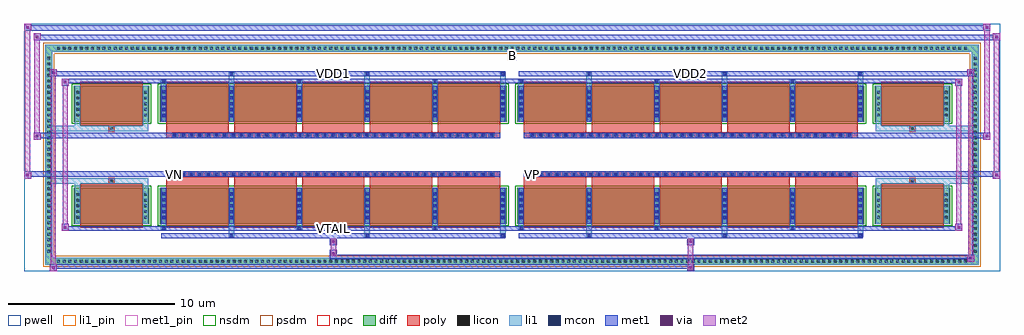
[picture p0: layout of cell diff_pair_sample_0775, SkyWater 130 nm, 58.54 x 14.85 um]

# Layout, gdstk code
import gdstk
lib = gdstk.Library(unit=1e-6, precision=5e-09)
def R(c, l, rs):  # rectangles x0, y0, x1, y1
    for r in rs: c.add(gdstk.rectangle(r[:2], r[2:], *l))
def A(c, l, x, y, w, h, nx, ny, dx, dy):  # array of equal rectangles
    R(c, l, [(x+i*dx, y+j*dy, x+i*dx+w, y+j*dy+h) for i in range(nx) for j in range(ny)])
def P(c, l, *ps):  # polygons
    for p in ps: c.add(gdstk.Polygon(p, *l))
pwell = (64, 44)
diff = (65, 20)
poly = (66, 20)
licon = (66, 44)
li1_pin = (67, 16)
li1 = (67, 20)
mcon = (67, 44)
met1_pin = (68, 16)
met1 = (68, 20)
via = (68, 44)
met2 = (69, 20)
nsdm = (93, 44)
psdm = (94, 20)
npc = (95, 20)

diff_pair_sample_0775 = lib.new_cell('diff_pair_sample_0775')
R(diff_pair_sample_0775, pwell, [(-29.27,-6.99,29.27,7.86), (-26.59,-5.18,-0.01,-0.8), (0.01,-5.18,26.59,-0.8), (-26.59,0.8,-0.01,5.18), (0.01,0.8,26.59,5.18)])
A(diff_pair_sample_0775, diff, -27.405, -6.59, 0.41, 0.41, 161, 2, 0.34, 12.77)
A(diff_pair_sample_0775, diff, -28, -5.985, 0.41, 0.41, 1, 35, 0, 0.34)
A(diff_pair_sample_0775, diff, 27.59, -5.985, 0.41, 0.41, 1, 35, 0, 0.34)
R(diff_pair_sample_0775, diff, [(-27.405,-6.59,27.405,-6.18), (-28,-5.985,-27.59,5.985), (27.59,-5.985,28,5.985), (-26.28,-4.135,-21.76,-1.985), (-21.12,-4.135,-0.32,-1.985), (0.32,-4.135,21.12,-1.985), (21.76,-4.135,26.28,-1.985), (-26.28,1.985,-21.76,4.135), (-21.12,1.985,-0.32,4.135), (0.32,1.985,21.12,4.135), (21.76,1.985,26.28,4.135), (-27.405,6.18,27.405,6.59)])
P(diff_pair_sample_0775, diff, [(28,6.59),(-28,6.59),(-28,-6.18),(-27.59,-6.18),(-27.59,6.18),(27.59,6.18),(27.59,-6.18),(-27.59,-6.18),(-28,-6.18),(-28,-6.59),(28,-6.59)])
A(diff_pair_sample_0775, poly, -20.73, -4.385, 3.74, 2.65, 5, 2, 4.07, 6.12)
A(diff_pair_sample_0775, poly, 0.71, -4.385, 3.74, 2.65, 5, 2, 4.07, 6.12)
A(diff_pair_sample_0775, poly, -20.73, -1.735, 3.74, 0.405, 5, 2, 4.07, 3.065)
A(diff_pair_sample_0775, poly, 0.71, -1.735, 3.74, 0.405, 5, 2, 4.07, 3.065)
A(diff_pair_sample_0775, poly, -20.385, -1.33, 0.33, 0.33, 39, 2, 0.5, 2.33)
A(diff_pair_sample_0775, poly, 1.055, -1.33, 0.33, 0.33, 39, 2, 0.5, 2.33)
R(diff_pair_sample_0775, poly, [(-25.89,-4.385,-22.15,-1.735), (22.15,-4.385,25.89,-1.735), (-24.185,-1.735,-23.855,-1.405), (-24.185,-1.735,-23.855,-1.405), (23.855,-1.735,24.185,-1.405), (23.855,-1.735,24.185,-1.405), (-20.73,-1.33,-0.71,-1), (0.71,-1.33,20.73,-1), (-20.73,1,-0.71,1.33), (0.71,1,20.73,1.33), (-24.185,1.405,-23.855,1.735), (-24.185,1.405,-23.855,1.735), (23.855,1.405,24.185,1.735), (23.855,1.405,24.185,1.735), (-25.89,1.735,-22.15,4.385), (22.15,1.735,25.89,4.385)])
A(diff_pair_sample_0775, licon, -27.285, -6.47, 0.17, 0.17, 161, 2, 0.34, 12.77)
A(diff_pair_sample_0775, licon, -27.88, -5.865, 0.17, 0.17, 1, 35, 0, 0.34)
A(diff_pair_sample_0775, licon, 27.71, -5.865, 0.17, 0.17, 1, 35, 0, 0.34)
A(diff_pair_sample_0775, licon, -26.14, -3.825, 0.17, 0.17, 1, 5, 0, 0.34)
A(diff_pair_sample_0775, licon, -22.07, -3.825, 0.17, 0.17, 1, 5, 0, 0.34)
A(diff_pair_sample_0775, licon, -20.98, -3.825, 0.17, 0.17, 6, 5, 4.07, 0.34)
A(diff_pair_sample_0775, licon, 0.46, -3.825, 0.17, 0.17, 6, 5, 4.07, 0.34)
A(diff_pair_sample_0775, licon, 21.9, -3.825, 0.17, 0.17, 1, 5, 0, 0.34)
A(diff_pair_sample_0775, licon, 25.97, -3.825, 0.17, 0.17, 1, 5, 0, 0.34)
A(diff_pair_sample_0775, licon, -20.305, -1.25, 0.17, 0.17, 39, 2, 0.5, 2.33)
A(diff_pair_sample_0775, licon, 1.135, -1.25, 0.17, 0.17, 39, 2, 0.5, 2.33)
A(diff_pair_sample_0775, licon, -26.14, 2.295, 0.17, 0.17, 1, 5, 0, 0.34)
A(diff_pair_sample_0775, licon, -22.07, 2.295, 0.17, 0.17, 1, 5, 0, 0.34)
A(diff_pair_sample_0775, licon, -20.98, 2.295, 0.17, 0.17, 6, 5, 4.07, 0.34)
A(diff_pair_sample_0775, licon, 0.46, 2.295, 0.17, 0.17, 6, 5, 4.07, 0.34)
A(diff_pair_sample_0775, licon, 21.9, 2.295, 0.17, 0.17, 1, 5, 0, 0.34)
A(diff_pair_sample_0775, licon, 25.97, 2.295, 0.17, 0.17, 1, 5, 0, 0.34)
R(diff_pair_sample_0775, licon, [(-24.105,-1.655,-23.935,-1.485), (23.935,-1.655,24.105,-1.485), (-24.105,1.485,-23.935,1.655), (23.935,1.485,24.105,1.655)])
R(diff_pair_sample_0775, li1_pin, [(-0.25,5.68,0.25,6.18)])
A(diff_pair_sample_0775, li1, -27.365, -6.55, 0.33, 0.33, 161, 2, 0.34, 12.77)
A(diff_pair_sample_0775, li1, -27.96, -5.945, 0.33, 0.33, 1, 35, 0, 0.34)
A(diff_pair_sample_0775, li1, 27.63, -5.945, 0.33, 0.33, 1, 35, 0, 0.34)
A(diff_pair_sample_0775, li1, -16.99, -4.94, 0.33, 0.805, 3, 2, 8.14, 9.075)
A(diff_pair_sample_0775, li1, -16.91, -4.94, 0.17, 0.17, 3, 2, 8.14, 9.71)
A(diff_pair_sample_0775, li1, 4.45, -4.94, 0.33, 0.805, 3, 2, 8.14, 9.075)
A(diff_pair_sample_0775, li1, 4.53, -4.94, 0.17, 0.17, 3, 2, 8.14, 9.71)
A(diff_pair_sample_0775, li1, -21.06, -4.51, 0.33, 0.375, 3, 2, 8.14, 8.645)
A(diff_pair_sample_0775, li1, -20.98, -4.51, 0.17, 0.17, 3, 2, 8.14, 8.85)
A(diff_pair_sample_0775, li1, 0.38, -4.51, 0.33, 0.375, 3, 2, 8.14, 8.645)
A(diff_pair_sample_0775, li1, 0.46, -4.51, 0.17, 0.17, 3, 2, 8.14, 8.85)
A(diff_pair_sample_0775, li1, -21.06, -4.135, 0.33, 2.15, 6, 2, 4.07, 6.12)
A(diff_pair_sample_0775, li1, 0.38, -4.135, 0.33, 2.15, 6, 2, 4.07, 6.12)
A(diff_pair_sample_0775, li1, -26.22, -3.905, 0.33, 0.33, 1, 5, 0, 0.34)
A(diff_pair_sample_0775, li1, -22.15, -3.905, 0.33, 0.33, 1, 5, 0, 0.34)
A(diff_pair_sample_0775, li1, -21.06, -3.905, 0.33, 0.33, 6, 5, 4.07, 0.34)
A(diff_pair_sample_0775, li1, 0.38, -3.905, 0.33, 0.33, 6, 5, 4.07, 0.34)
A(diff_pair_sample_0775, li1, 21.82, -3.905, 0.33, 0.33, 1, 5, 0, 0.34)
A(diff_pair_sample_0775, li1, 25.89, -3.905, 0.33, 0.33, 1, 5, 0, 0.34)
A(diff_pair_sample_0775, li1, -20.98, -3.865, 0.17, 0.17, 6, 5, 4.07, 0.36)
A(diff_pair_sample_0775, li1, -20.98, -3.865, 0.17, 1.61, 6, 2, 4.07, 6.12)
A(diff_pair_sample_0775, li1, 0.46, -3.865, 0.17, 0.17, 6, 5, 4.07, 0.36)
A(diff_pair_sample_0775, li1, 0.46, -3.865, 0.17, 1.61, 6, 2, 4.07, 6.12)
A(diff_pair_sample_0775, li1, -20.385, -1.33, 0.33, 0.33, 39, 2, 0.5, 2.33)
A(diff_pair_sample_0775, li1, 1.055, -1.33, 0.33, 0.33, 39, 2, 0.5, 2.33)
A(diff_pair_sample_0775, li1, -26.22, 2.215, 0.33, 0.33, 1, 5, 0, 0.34)
A(diff_pair_sample_0775, li1, -22.15, 2.215, 0.33, 0.33, 1, 5, 0, 0.34)
A(diff_pair_sample_0775, li1, -21.06, 2.215, 0.33, 0.33, 6, 5, 4.07, 0.34)
A(diff_pair_sample_0775, li1, 0.38, 2.215, 0.33, 0.33, 6, 5, 4.07, 0.34)
A(diff_pair_sample_0775, li1, 21.82, 2.215, 0.33, 0.33, 1, 5, 0, 0.34)
A(diff_pair_sample_0775, li1, 25.89, 2.215, 0.33, 0.33, 1, 5, 0, 0.34)
A(diff_pair_sample_0775, li1, -20.98, 2.255, 0.17, 0.17, 6, 5, 4.07, 0.36)
A(diff_pair_sample_0775, li1, 0.46, 2.255, 0.17, 0.17, 6, 5, 4.07, 0.36)
R(diff_pair_sample_0775, li1, [(-28,-6.59,-27.59,-6.18), (-28,-6.59,-27.59,-6.18), (-27.59,-6.59,27.59,-6.18), (27.59,-6.59,28,-6.18), (27.59,-6.59,28,-6.18), (-28,-6.18,-27.59,6.18), (27.59,-6.18,28,6.18), (-26.22,-4.135,-25.89,-1.985), (-22.15,-4.135,-21.82,-1.985), (21.82,-4.135,22.15,-1.985), (25.89,-4.135,26.22,-1.985), (-26.22,-1.985,-25.89,-1.405), (-22.15,-1.985,-21.82,-1.405), (21.82,-1.985,22.15,-1.405), (25.89,-1.985,26.22,-1.405), (-28,-1.735,-24.185,-1.405), (-26.22,-1.735,-24.185,-1.405), (-24.185,-1.735,-23.855,-1.405), (-23.855,-1.735,-21.82,-1.405), (21.82,-1.735,23.855,-1.405), (23.855,-1.735,24.185,-1.405), (23.855,-1.735,28,-1.405), (24.185,-1.735,26.22,-1.405), (-28,1.405,-24.185,1.735), (-26.22,1.405,-24.185,1.735), (-26.22,1.405,-25.89,1.985), (-24.185,1.405,-23.855,1.735), (-23.855,1.405,-21.82,1.735), (-22.15,1.405,-21.82,1.985), (21.82,1.405,23.855,1.735), (21.82,1.405,22.15,1.985), (23.855,1.405,24.185,1.735), (23.855,1.405,28,1.735), (24.185,1.405,26.22,1.735), (25.89,1.405,26.22,1.985), (-26.22,1.985,-25.89,4.135), (-22.15,1.985,-21.82,4.135), (21.82,1.985,22.15,4.135), (25.89,1.985,26.22,4.135), (-28,6.18,-27.59,6.59), (-28,6.18,-27.59,6.59), (-27.59,6.18,27.59,6.59), (27.59,6.18,28,6.59), (27.59,6.18,28,6.59)])
A(diff_pair_sample_0775, mcon, -16.91, -4.94, 0.17, 0.17, 3, 2, 8.14, 9.71)
A(diff_pair_sample_0775, mcon, 4.53, -4.94, 0.17, 0.17, 3, 2, 8.14, 9.71)
A(diff_pair_sample_0775, mcon, -20.98, -4.51, 0.17, 0.17, 3, 2, 8.14, 8.85)
A(diff_pair_sample_0775, mcon, 0.46, -4.51, 0.17, 0.17, 3, 2, 8.14, 8.85)
A(diff_pair_sample_0775, mcon, -20.98, -3.865, 0.17, 0.17, 6, 5, 4.07, 0.36)
A(diff_pair_sample_0775, mcon, 0.46, -3.865, 0.17, 0.17, 6, 5, 4.07, 0.36)
A(diff_pair_sample_0775, mcon, -20.305, -1.25, 0.17, 0.17, 39, 2, 0.5, 2.33)
A(diff_pair_sample_0775, mcon, 1.135, -1.25, 0.17, 0.17, 39, 2, 0.5, 2.33)
A(diff_pair_sample_0775, mcon, -20.98, 2.255, 0.17, 0.17, 6, 5, 4.07, 0.36)
A(diff_pair_sample_0775, mcon, 0.46, 2.255, 0.17, 0.17, 6, 5, 4.07, 0.36)
R(diff_pair_sample_0775, met1_pin, [(-10.855,-4.55,-10.585,-4.28), (-20.355,-1.29,-20.085,-1.02), (1.085,-1.29,1.355,-1.02), (-10.855,4.73,-10.585,5), (10.585,4.73,10.855,5)])
A(diff_pair_sample_0775, met1, -16.97, -5, 0.29, 0.29, 3, 2, 8.14, 9.71)
A(diff_pair_sample_0775, met1, 4.47, -5, 0.29, 0.29, 3, 2, 8.14, 9.71)
A(diff_pair_sample_0775, met1, -21.04, -4.57, 0.29, 0.29, 3, 2, 8.14, 8.85)
A(diff_pair_sample_0775, met1, 0.4, -4.57, 0.29, 0.29, 3, 2, 8.14, 8.85)
A(diff_pair_sample_0775, met1, -21.04, -4.135, 0.29, 2.15, 6, 2, 4.07, 6.12)
A(diff_pair_sample_0775, met1, 0.4, -4.135, 0.29, 2.15, 6, 2, 4.07, 6.12)
A(diff_pair_sample_0775, met1, -21.04, -3.925, 0.29, 0.29, 6, 5, 4.07, 0.36)
A(diff_pair_sample_0775, met1, 0.4, -3.925, 0.29, 0.29, 6, 5, 4.07, 0.36)
A(diff_pair_sample_0775, met1, -20.365, -1.31, 0.29, 0.29, 39, 2, 0.5, 2.33)
A(diff_pair_sample_0775, met1, 1.075, -1.31, 0.29, 0.29, 39, 2, 0.5, 2.33)
A(diff_pair_sample_0775, met1, -21.04, 2.195, 0.29, 0.29, 6, 5, 4.07, 0.36)
A(diff_pair_sample_0775, met1, 0.4, 2.195, 0.29, 0.29, 6, 5, 4.07, 0.36)
R(diff_pair_sample_0775, met1, [(-27.73,-6.99,-27.3,-6.56), (10.505,-6.99,10.935,-6.56), (-27.73,-6.85,10.935,-6.56), (27.3,-6.42,27.73,-5.99), (-10.935,-6.28,27.73,-5.99), (-10.935,-6.14,-10.505,-5.71), (-10.935,-5.43,-10.505,-5), (10.505,-5.43,10.935,-5), (-21.04,-5,-0.4,-4.71), (0.4,-5,21.04,-4.71), (-27.02,-4.57,-26.59,-4.14), (-27.02,-4.57,-21.04,-4.28), (-21.04,-4.57,-0.4,-4.28), (-0.4,-4.57,0.4,-4.28), (0.4,-4.57,21.04,-4.28), (21.04,-4.57,27.02,-4.28), (26.59,-4.57,27.02,-4.14), (-29.27,-1.43,-28.84,-1), (28.84,-1.43,29.27,-1), (-29.27,-1.33,-0.71,-1), (-20.73,-1.33,-0.71,-1), (0.71,-1.33,20.73,-1), (0.71,-1.33,29.27,-1), (-28.7,0.9,-28.27,1.33), (28.27,0.9,28.7,1.33), (-28.7,1,-20.73,1.33), (-20.73,1,-0.71,1.33), (0.71,1,20.73,1.33), (20.73,1,28.7,1.33), (-27.02,4.14,-26.59,4.57), (26.59,4.14,27.02,4.57), (-27.02,4.28,-21.04,4.57), (-21.04,4.28,-0.4,4.57), (-0.4,4.28,0.4,4.57), (0.4,4.28,21.04,4.57), (21.04,4.28,27.02,4.57), (-27.73,4.71,-27.3,5.14), (-27.73,4.71,-21.04,5), (-21.04,4.71,-0.4,5), (0.4,4.71,21.04,5), (21.04,4.71,27.73,5), (27.3,4.71,27.73,5.14), (-28.7,6.86,-28.27,7.29), (-28.7,6.86,-26.59,7.19), (-26.59,6.86,26.59,7.19), (26.59,6.86,29.27,7.19), (28.84,6.86,29.27,7.29), (-29.27,7.43,-28.84,7.86), (-29.27,7.43,-26.59,7.76), (-26.59,7.43,26.59,7.76), (26.59,7.43,28.7,7.76), (28.27,7.43,28.7,7.86)])
R(diff_pair_sample_0775, via, [(-27.59,-6.85,-27.44,-6.7), (10.645,-6.85,10.795,-6.7), (27.44,-6.28,27.59,-6.13), (-10.795,-6,-10.645,-5.85), (-10.795,-5.29,-10.645,-5.14), (10.645,-5.29,10.795,-5.14), (-26.88,-4.43,-26.73,-4.28), (26.73,-4.43,26.88,-4.28), (-29.13,-1.29,-28.98,-1.14), (28.98,-1.29,29.13,-1.14), (-28.56,1.04,-28.41,1.19), (28.41,1.04,28.56,1.19), (-26.88,4.28,-26.73,4.43), (26.73,4.28,26.88,4.43), (-27.59,4.85,-27.44,5), (27.44,4.85,27.59,5), (-28.56,7,-28.41,7.15), (28.98,7,29.13,7.15), (-29.13,7.57,-28.98,7.72), (28.41,7.57,28.56,7.72)])
R(diff_pair_sample_0775, met2, [(-27.73,-6.99,-27.3,-6.56), (-27.66,-6.99,-27.37,5.14), (-27.37,-6.99,-27.3,-6.56), (-27.68,-6.94,-27.35,-6.61), (10.555,-6.94,10.885,-6.61), (10.555,-6.61,10.885,-5.38), (27.3,-6.42,27.73,-5.99), (27.37,-6.42,27.66,5.14), (27.66,-6.42,27.73,-5.99), (27.35,-6.37,27.68,-6.04), (-10.885,-6.09,-10.555,-5.76), (-10.885,-5.76,-10.555,-5.38), (-10.885,-5.38,-10.555,-5.05), (10.555,-5.38,10.885,-5.05), (-27.02,-4.57,-26.59,-4.14), (-26.95,-4.57,-26.66,4.57), (-26.66,-4.57,-26.59,-4.14), (26.59,-4.57,27.02,-4.14), (26.66,-4.57,26.95,4.57), (26.95,-4.57,27.02,-4.14), (-26.97,-4.52,-26.64,-4.19), (26.64,-4.52,26.97,-4.19), (-29.27,-1.43,-28.84,-1), (-29.22,-1.43,-28.89,7.86), (-28.89,-1.43,-28.84,-1), (28.84,-1.43,29.27,-1), (28.89,-1.43,29.22,7.29), (29.22,-1.43,29.27,-1), (-29.22,-1.38,-28.89,-1.05), (28.89,-1.38,29.22,-1.05), (-28.7,0.9,-28.27,1.33), (-28.65,0.9,-28.32,7.29), (-28.32,0.9,-28.27,1.33), (28.27,0.9,28.7,1.33), (28.32,0.9,28.65,7.86), (28.65,0.9,28.7,1.33), (-28.65,0.95,-28.32,1.28), (28.32,0.95,28.65,1.28), (-27.02,4.14,-26.59,4.57), (-26.66,4.14,-26.59,4.57), (26.59,4.14,27.02,4.57), (26.95,4.14,27.02,4.57), (-26.97,4.19,-26.64,4.52), (26.64,4.19,26.97,4.52), (-27.73,4.71,-27.3,5.14), (-27.37,4.71,-27.3,5.14), (27.3,4.71,27.73,5.14), (27.66,4.71,27.73,5.14), (-27.68,4.76,-27.35,5.09), (27.35,4.76,27.68,5.09), (-28.7,6.86,-28.27,7.29), (-28.32,6.86,-28.27,7.29), (28.84,6.86,29.27,7.29), (29.22,6.86,29.27,7.29), (-28.65,6.91,-28.32,7.24), (28.89,6.91,29.22,7.24), (-29.27,7.43,-28.84,7.86), (-28.89,7.43,-28.84,7.86), (28.27,7.43,28.7,7.86), (28.65,7.43,28.7,7.86), (-29.22,7.48,-28.89,7.81), (28.32,7.48,28.65,7.81)])
R(diff_pair_sample_0775, nsdm, [(-26.41,-4.265,-21.63,-1.855), (-21.25,-4.265,-0.19,-1.855), (0.19,-4.265,21.25,-1.855), (21.63,-4.265,26.41,-1.855), (-26.41,1.855,-21.63,4.265), (-21.25,1.855,-0.19,4.265), (0.19,1.855,21.25,4.265), (21.63,1.855,26.41,4.265)])
P(diff_pair_sample_0775, psdm, [(28.13,6.72),(-28.13,6.72),(-28.13,-6.05),(-27.46,-6.05),(-27.46,6.05),(27.46,6.05),(27.46,-6.05),(-27.46,-6.05),(-28.13,-6.05),(-28.13,-6.72),(28.13,-6.72)])
A(diff_pair_sample_0775, npc, -20.405, -1.35, 0.37, 0.37, 39, 2, 0.5, 2.33)
A(diff_pair_sample_0775, npc, 1.035, -1.35, 0.37, 0.37, 39, 2, 0.5, 2.33)
R(diff_pair_sample_0775, npc, [(-24.205,-1.755,-23.835,-1.385), (23.835,-1.755,24.205,-1.385), (-20.405,-1.35,-19.535,-0.98), (-20.405,-1.35,-19.535,-0.98), (-19.905,-1.35,-19.035,-0.98), (-19.905,-1.35,-19.035,-0.98), (-19.405,-1.35,-18.535,-0.98), (-19.405,-1.35,-18.535,-0.98), (-18.905,-1.35,-18.035,-0.98), (-18.905,-1.35,-18.035,-0.98), (-18.405,-1.35,-17.535,-0.98), (-18.405,-1.35,-17.535,-0.98), (-17.905,-1.35,-17.035,-0.98), (-17.905,-1.35,-17.035,-0.98), (-17.405,-1.35,-16.535,-0.98), (-17.405,-1.35,-16.535,-0.98), (-16.905,-1.35,-16.035,-0.98), (-16.905,-1.35,-16.035,-0.98), (-16.405,-1.35,-15.535,-0.98), (-16.405,-1.35,-15.535,-0.98), (-15.905,-1.35,-15.035,-0.98), (-15.905,-1.35,-15.035,-0.98), (-15.405,-1.35,-14.535,-0.98), (-15.405,-1.35,-14.535,-0.98), (-14.905,-1.35,-14.035,-0.98), (-14.905,-1.35,-14.035,-0.98), (-14.405,-1.35,-13.535,-0.98), (-14.405,-1.35,-13.535,-0.98), (-13.905,-1.35,-13.035,-0.98), (-13.905,-1.35,-13.035,-0.98), (-13.405,-1.35,-12.535,-0.98), (-13.405,-1.35,-12.535,-0.98), (-12.905,-1.35,-12.035,-0.98), (-12.905,-1.35,-12.035,-0.98), (-12.405,-1.35,-11.535,-0.98), (-12.405,-1.35,-11.535,-0.98), (-11.905,-1.35,-11.035,-0.98), (-11.905,-1.35,-11.035,-0.98), (-11.405,-1.35,-10.535,-0.98), (-11.405,-1.35,-10.535,-0.98), (-10.905,-1.35,-10.035,-0.98), (-10.905,-1.35,-10.035,-0.98), (-10.405,-1.35,-9.535,-0.98), (-10.405,-1.35,-9.535,-0.98), (-9.905,-1.35,-9.035,-0.98), (-9.905,-1.35,-9.035,-0.98), (-9.405,-1.35,-8.535,-0.98), (-9.405,-1.35,-8.535,-0.98), (-8.905,-1.35,-8.035,-0.98), (-8.905,-1.35,-8.035,-0.98), (-8.405,-1.35,-7.535,-0.98), (-8.405,-1.35,-7.535,-0.98), (-7.905,-1.35,-7.035,-0.98), (-7.905,-1.35,-7.035,-0.98), (-7.405,-1.35,-6.535,-0.98), (-7.405,-1.35,-6.535,-0.98), (-6.905,-1.35,-6.035,-0.98), (-6.905,-1.35,-6.035,-0.98), (-6.405,-1.35,-5.535,-0.98), (-6.405,-1.35,-5.535,-0.98), (-5.905,-1.35,-5.035,-0.98), (-5.905,-1.35,-5.035,-0.98), (-5.405,-1.35,-4.535,-0.98), (-5.405,-1.35,-4.535,-0.98), (-4.905,-1.35,-4.035,-0.98), (-4.905,-1.35,-4.035,-0.98), (-4.405,-1.35,-3.535,-0.98), (-4.405,-1.35,-3.535,-0.98), (-3.905,-1.35,-3.035,-0.98), (-3.905,-1.35,-3.035,-0.98), (-3.405,-1.35,-2.535,-0.98), (-3.405,-1.35,-2.535,-0.98), (-2.905,-1.35,-2.035,-0.98), (-2.905,-1.35,-2.035,-0.98), (-2.405,-1.35,-1.535,-0.98), (-2.405,-1.35,-1.535,-0.98), (-1.905,-1.35,-1.035,-0.98), (-1.905,-1.35,-1.035,-0.98), (1.035,-1.35,1.905,-0.98), (1.035,-1.35,1.905,-0.98), (1.535,-1.35,2.405,-0.98), (1.535,-1.35,2.405,-0.98), (2.035,-1.35,2.905,-0.98), (2.035,-1.35,2.905,-0.98), (2.535,-1.35,3.405,-0.98), (2.535,-1.35,3.405,-0.98), (3.035,-1.35,3.905,-0.98), (3.035,-1.35,3.905,-0.98), (3.535,-1.35,4.405,-0.98), (3.535,-1.35,4.405,-0.98), (4.035,-1.35,4.905,-0.98), (4.035,-1.35,4.905,-0.98), (4.535,-1.35,5.405,-0.98), (4.535,-1.35,5.405,-0.98), (5.035,-1.35,5.905,-0.98), (5.035,-1.35,5.905,-0.98), (5.535,-1.35,6.405,-0.98), (5.535,-1.35,6.405,-0.98), (6.035,-1.35,6.905,-0.98), (6.035,-1.35,6.905,-0.98), (6.535,-1.35,7.405,-0.98), (6.535,-1.35,7.405,-0.98), (7.035,-1.35,7.905,-0.98), (7.035,-1.35,7.905,-0.98), (7.535,-1.35,8.405,-0.98), (7.535,-1.35,8.405,-0.98), (8.035,-1.35,8.905,-0.98), (8.035,-1.35,8.905,-0.98), (8.535,-1.35,9.405,-0.98), (8.535,-1.35,9.405,-0.98), (9.035,-1.35,9.905,-0.98), (9.035,-1.35,9.905,-0.98), (9.535,-1.35,10.405,-0.98), (9.535,-1.35,10.405,-0.98), (10.035,-1.35,10.905,-0.98), (10.035,-1.35,10.905,-0.98), (10.535,-1.35,11.405,-0.98), (10.535,-1.35,11.405,-0.98), (11.035,-1.35,11.905,-0.98), (11.035,-1.35,11.905,-0.98), (11.535,-1.35,12.405,-0.98), (11.535,-1.35,12.405,-0.98), (12.035,-1.35,12.905,-0.98), (12.035,-1.35,12.905,-0.98), (12.535,-1.35,13.405,-0.98), (12.535,-1.35,13.405,-0.98), (13.035,-1.35,13.905,-0.98), (13.035,-1.35,13.905,-0.98), (13.535,-1.35,14.405,-0.98), (13.535,-1.35,14.405,-0.98), (14.035,-1.35,14.905,-0.98), (14.035,-1.35,14.905,-0.98), (14.535,-1.35,15.405,-0.98), (14.535,-1.35,15.405,-0.98), (15.035,-1.35,15.905,-0.98), (15.035,-1.35,15.905,-0.98), (15.535,-1.35,16.405,-0.98), (15.535,-1.35,16.405,-0.98), (16.035,-1.35,16.905,-0.98), (16.035,-1.35,16.905,-0.98), (16.535,-1.35,17.405,-0.98), (16.535,-1.35,17.405,-0.98), (17.035,-1.35,17.905,-0.98), (17.035,-1.35,17.905,-0.98), (17.535,-1.35,18.405,-0.98), (17.535,-1.35,18.405,-0.98), (18.035,-1.35,18.905,-0.98), (18.035,-1.35,18.905,-0.98), (18.535,-1.35,19.405,-0.98), (18.535,-1.35,19.405,-0.98), (19.035,-1.35,19.905,-0.98), (19.035,-1.35,19.905,-0.98), (19.535,-1.35,20.405,-0.98), (19.535,-1.35,20.405,-0.98), (-20.405,0.98,-19.535,1.35), (-20.405,0.98,-19.535,1.35), (-19.905,0.98,-19.035,1.35), (-19.905,0.98,-19.035,1.35), (-19.405,0.98,-18.535,1.35), (-19.405,0.98,-18.535,1.35), (-18.905,0.98,-18.035,1.35), (-18.905,0.98,-18.035,1.35), (-18.405,0.98,-17.535,1.35), (-18.405,0.98,-17.535,1.35), (-17.905,0.98,-17.035,1.35), (-17.905,0.98,-17.035,1.35), (-17.405,0.98,-16.535,1.35), (-17.405,0.98,-16.535,1.35), (-16.905,0.98,-16.035,1.35), (-16.905,0.98,-16.035,1.35), (-16.405,0.98,-15.535,1.35), (-16.405,0.98,-15.535,1.35), (-15.905,0.98,-15.035,1.35), (-15.905,0.98,-15.035,1.35), (-15.405,0.98,-14.535,1.35), (-15.405,0.98,-14.535,1.35), (-14.905,0.98,-14.035,1.35), (-14.905,0.98,-14.035,1.35), (-14.405,0.98,-13.535,1.35), (-14.405,0.98,-13.535,1.35), (-13.905,0.98,-13.035,1.35), (-13.905,0.98,-13.035,1.35), (-13.405,0.98,-12.535,1.35), (-13.405,0.98,-12.535,1.35), (-12.905,0.98,-12.035,1.35), (-12.905,0.98,-12.035,1.35), (-12.405,0.98,-11.535,1.35), (-12.405,0.98,-11.535,1.35), (-11.905,0.98,-11.035,1.35), (-11.905,0.98,-11.035,1.35), (-11.405,0.98,-10.535,1.35), (-11.405,0.98,-10.535,1.35), (-10.905,0.98,-10.035,1.35), (-10.905,0.98,-10.035,1.35), (-10.405,0.98,-9.535,1.35), (-10.405,0.98,-9.535,1.35), (-9.905,0.98,-9.035,1.35), (-9.905,0.98,-9.035,1.35), (-9.405,0.98,-8.535,1.35), (-9.405,0.98,-8.535,1.35), (-8.905,0.98,-8.035,1.35), (-8.905,0.98,-8.035,1.35), (-8.405,0.98,-7.535,1.35), (-8.405,0.98,-7.535,1.35), (-7.905,0.98,-7.035,1.35), (-7.905,0.98,-7.035,1.35), (-7.405,0.98,-6.535,1.35), (-7.405,0.98,-6.535,1.35), (-6.905,0.98,-6.035,1.35), (-6.905,0.98,-6.035,1.35), (-6.405,0.98,-5.535,1.35), (-6.405,0.98,-5.535,1.35), (-5.905,0.98,-5.035,1.35), (-5.905,0.98,-5.035,1.35), (-5.405,0.98,-4.535,1.35), (-5.405,0.98,-4.535,1.35), (-4.905,0.98,-4.035,1.35), (-4.905,0.98,-4.035,1.35), (-4.405,0.98,-3.535,1.35), (-4.405,0.98,-3.535,1.35), (-3.905,0.98,-3.035,1.35), (-3.905,0.98,-3.035,1.35), (-3.405,0.98,-2.535,1.35), (-3.405,0.98,-2.535,1.35), (-2.905,0.98,-2.035,1.35), (-2.905,0.98,-2.035,1.35), (-2.405,0.98,-1.535,1.35), (-2.405,0.98,-1.535,1.35), (-1.905,0.98,-1.035,1.35), (-1.905,0.98,-1.035,1.35), (1.035,0.98,1.905,1.35), (1.035,0.98,1.905,1.35), (1.535,0.98,2.405,1.35), (1.535,0.98,2.405,1.35), (2.035,0.98,2.905,1.35), (2.035,0.98,2.905,1.35), (2.535,0.98,3.405,1.35), (2.535,0.98,3.405,1.35), (3.035,0.98,3.905,1.35), (3.035,0.98,3.905,1.35), (3.535,0.98,4.405,1.35), (3.535,0.98,4.405,1.35), (4.035,0.98,4.905,1.35), (4.035,0.98,4.905,1.35), (4.535,0.98,5.405,1.35), (4.535,0.98,5.405,1.35), (5.035,0.98,5.905,1.35), (5.035,0.98,5.905,1.35), (5.535,0.98,6.405,1.35), (5.535,0.98,6.405,1.35), (6.035,0.98,6.905,1.35), (6.035,0.98,6.905,1.35), (6.535,0.98,7.405,1.35), (6.535,0.98,7.405,1.35), (7.035,0.98,7.905,1.35), (7.035,0.98,7.905,1.35), (7.535,0.98,8.405,1.35), (7.535,0.98,8.405,1.35), (8.035,0.98,8.905,1.35), (8.035,0.98,8.905,1.35), (8.535,0.98,9.405,1.35), (8.535,0.98,9.405,1.35), (9.035,0.98,9.905,1.35), (9.035,0.98,9.905,1.35), (9.535,0.98,10.405,1.35), (9.535,0.98,10.405,1.35), (10.035,0.98,10.905,1.35), (10.035,0.98,10.905,1.35), (10.535,0.98,11.405,1.35), (10.535,0.98,11.405,1.35), (11.035,0.98,11.905,1.35), (11.035,0.98,11.905,1.35), (11.535,0.98,12.405,1.35), (11.535,0.98,12.405,1.35), (12.035,0.98,12.905,1.35), (12.035,0.98,12.905,1.35), (12.535,0.98,13.405,1.35), (12.535,0.98,13.405,1.35), (13.035,0.98,13.905,1.35), (13.035,0.98,13.905,1.35), (13.535,0.98,14.405,1.35), (13.535,0.98,14.405,1.35), (14.035,0.98,14.905,1.35), (14.035,0.98,14.905,1.35), (14.535,0.98,15.405,1.35), (14.535,0.98,15.405,1.35), (15.035,0.98,15.905,1.35), (15.035,0.98,15.905,1.35), (15.535,0.98,16.405,1.35), (15.535,0.98,16.405,1.35), (16.035,0.98,16.905,1.35), (16.035,0.98,16.905,1.35), (16.535,0.98,17.405,1.35), (16.535,0.98,17.405,1.35), (17.035,0.98,17.905,1.35), (17.035,0.98,17.905,1.35), (17.535,0.98,18.405,1.35), (17.535,0.98,18.405,1.35), (18.035,0.98,18.905,1.35), (18.035,0.98,18.905,1.35), (18.535,0.98,19.405,1.35), (18.535,0.98,19.405,1.35), (19.035,0.98,19.905,1.35), (19.035,0.98,19.905,1.35), (19.535,0.98,20.405,1.35), (19.535,0.98,20.405,1.35), (-24.205,1.385,-23.835,1.755), (23.835,1.385,24.205,1.755)])
diff_pair_sample_0775.add(gdstk.Label('VTAIL', (-10.72,-4.415), layer=68, texttype=5))
diff_pair_sample_0775.add(gdstk.Label('VN', (-20.22,-1.155), layer=68, texttype=5))
diff_pair_sample_0775.add(gdstk.Label('VP', (1.22,-1.155), layer=68, texttype=5))
diff_pair_sample_0775.add(gdstk.Label('B', (0,5.93), layer=67, texttype=5))
diff_pair_sample_0775.add(gdstk.Label('VDD2', (10.72,4.865), layer=68, texttype=5))
diff_pair_sample_0775.add(gdstk.Label('VDD1', (-10.72,4.865), layer=68, texttype=5))

lib.write_gds('diff_pair_sample_0775.gds')
